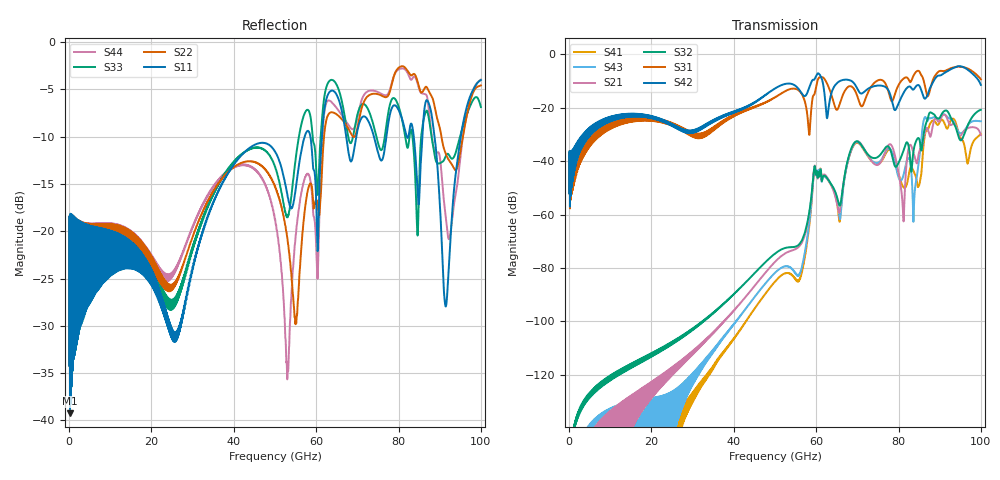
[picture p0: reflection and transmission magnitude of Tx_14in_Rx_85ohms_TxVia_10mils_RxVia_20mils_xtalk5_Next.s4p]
! Info: Touchstone file created by Circ.  Input file=Tx_14in_Rx_85ohms_TxVia_10mils_RxVia_20mils.circ
# Hz S RI R 50
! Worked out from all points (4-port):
!   10000 points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, 10 MHz to 100 GHz, reference 50 ohm
!   strongest paths, dB at 10 MHz, 25.01 GHz, 50.01 GHz, 75.01 GHz, 100 GHz:
!     S42: -52.0, -26.6, -12.8, -11.7, -11.5
!     S31: -52.0, -26.3, -16.2, -9.7, -9.4
!     S32: -177.9, -108.6, -74.6, -38.4, -20.8
!     S21: -, -120.1, -77.7, -41.4, -30.2
!     S43: -154.6, -135.8, -81.8, -40.6, -25.1
!     S41: -154.8, -139.9, -85.1, -41.2, -29.9
!   lowest |S11| = -39.2 dB at 220 MHz (marker M1), VSWR 1.02, Z = 49.1 + j0.562 ohm
!   |S11| at or under -10 dB: start of sweep to 57.2 GHz; 74.03 GHz to 77.05 GHz (3.02 GHz wide, 4 % of centre); 88.75 GHz to 95.11 GHz (6.359 GHz wide, 6.92 % of centre) (the widest 3 of 7)
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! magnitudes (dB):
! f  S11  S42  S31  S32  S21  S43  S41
! 10 MHz  -34.2  -52.0  -52.0  -177.9  -  -154.6  -154.8
! 220 MHz  -39.2  -53.0  -53.1  -155.3  -185.6  -180.4  -183.6
! 56.07 GHz  -12.3  -13.7  -14.0  -70.8  -71.6  -82.0  -84.1
! 59.79 GHz  -14.5  -8.7  -13.8  -43.5  -43.4  -43.5  -43.7
! 81.09 GHz  -8.5  -14.8  -9.3  -36.6  -59.1  -45.8  -49.5
! 91.47 GHz  -28.0  -6.7  -6.1  -21.0  -23.0  -22.9  -27.0
! 100 GHz  -4.0  -11.5  -9.4  -20.8  -30.2  -25.1  -29.9
